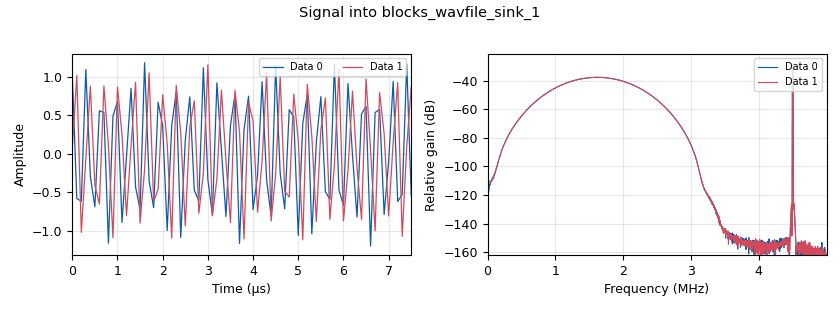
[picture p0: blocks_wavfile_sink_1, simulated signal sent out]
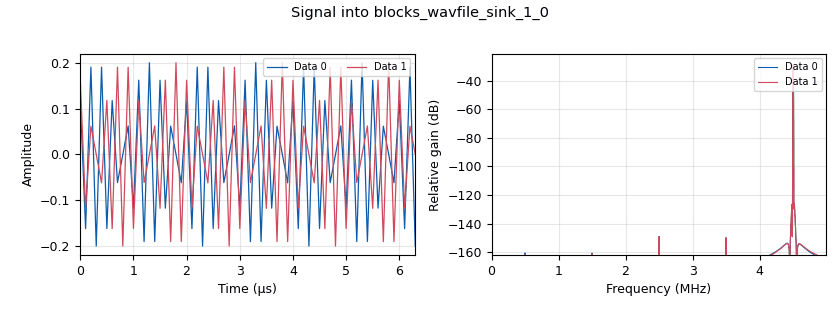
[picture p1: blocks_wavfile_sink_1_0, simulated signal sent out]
options:
  parameters:
    author: Levi Farinas
    generate_options: no_gui
    id: fmcw_hackrf
    output_language: python
    run_options: run
    title: Chirp with Pilot Tone
  states: {}

blocks:
- name: c
  id: variable
  parameters:
    value: 3e8
  states: {}
- name: chirp_bw
  id: variable
  parameters:
    value: .8 * (sdr_fs)
  states: {}
- name: pi
  id: variable
  parameters:
    value: '3.141592653'
  states: {}
- name: pilot_bb_freq
  id: variable
  parameters:
    value: (sdr_fs/2) * .9
  states: {}
- name: postchirp_buffer
  id: variable
  parameters:
    value: int(1e3)
  states: {}
- name: prechirp_buffer
  id: variable
  parameters:
    value: int(10e3)
  states: {}
- name: analog_frequency_modulator_fc_0
  id: analog_frequency_modulator_fc
  parameters:
    sensitivity: (2*3.14159*chirp_bw)/(sdr_fs)
  states: {}
- name: analog_sig_source_x_0
  id: analog_sig_source_x
  parameters:
    amp: '1'
    freq: 1/bb_chirp_period
    maxoutbuf: '100'
    offset: pi
    phase: pi
    samp_rate: sdr_fs
    type: float
    waveform: analog.GR_SAW_WAVE
  states: {}
- name: analog_sig_source_x_1
  id: analog_sig_source_x
  parameters:
    amp: pilot_amplitude
    freq: pilot_bb_freq
    offset: '0'
    phase: '0'
    samp_rate: sdr_fs
    type: complex
    waveform: analog.GR_COS_WAVE
  states: {}
- name: bb_chirp_period
  id: parameter
  parameters:
    type: eng_float
    value: '1e-3'
  states: {}
- name: blocks_add_xx_0
  id: blocks_add_xx
  parameters:
    type: complex
  states: {}
- name: blocks_complex_to_float_0
  id: blocks_complex_to_float
  parameters: {}
  states: {state: disabled}
- name: blocks_complex_to_float_0_0
  id: blocks_complex_to_float
  parameters: {}
  states: {state: disabled}
- name: blocks_complex_to_float_1
  id: blocks_complex_to_float
  parameters: {}
  states: {}
- name: blocks_complex_to_float_1_0
  id: blocks_complex_to_float
  parameters: {}
  states: {}
- name: blocks_complex_to_float_1_1
  id: blocks_complex_to_float
  parameters: {}
  states: {}
- name: blocks_head_0
  id: blocks_head
  parameters:
    num_items: int(bb_chirp_period*sdr_fs)
    type: float
  states: {}
- name: blocks_head_1
  id: blocks_head
  parameters:
    num_items: int(prechirp_buffer + sdr_fs * bb_chirp_period + postchirp_buffer)
    type: complex
  states: {state: disabled}
- name: blocks_throttle2_0
  id: blocks_throttle2
  parameters:
    samples_per_second: sdr_fs
    type: float
  states: {}
- name: blocks_wavfile_sink_0
  id: blocks_wavfile_sink
  parameters:
    bits_per_sample1: FORMAT_PCM_16
    file: /Users/levifarinas/Documents/SAR Research/Stitched/tx_chirp_{subchirp_idx}.wav
    format: FORMAT_WAV
    nchan: '2'
    samp_rate: sdr_fs
  states: {state: disabled}
- name: blocks_wavfile_sink_0_0
  id: blocks_wavfile_sink
  parameters:
    bits_per_sample1: FORMAT_PCM_16
    file: f"/Users/levifarinas/Documents/SAR Research/Stitched/rx_chirp_{subchirp_idx}.wav"
    format: FORMAT_WAV
    nchan: '2'
    samp_rate: sdr_fs
  states: {state: disabled}
- name: blocks_wavfile_sink_1
  id: blocks_wavfile_sink
  parameters:
    bits_per_sample1: FORMAT_PCM_16
    file: /Users/levifarinas/Documents/SAR Research/Data/tx.wav
    format: FORMAT_WAV
    nchan: '2'
    samp_rate: sdr_fs
  states: {}
- name: blocks_wavfile_sink_1_0
  id: blocks_wavfile_sink
  parameters:
    bits_per_sample1: FORMAT_PCM_16
    file: /Users/levifarinas/Documents/SAR Research/Data/pilot.wav
    format: FORMAT_WAV
    nchan: '2'
    samp_rate: sdr_fs
  states: {}
- name: blocks_wavfile_sink_1_1
  id: blocks_wavfile_sink
  parameters:
    bits_per_sample1: FORMAT_PCM_16
    file: /Users/levifarinas/Documents/SAR Research/Data/chirp.wav
    format: FORMAT_WAV
    nchan: '2'
    samp_rate: sdr_fs
  states: {}
- name: center_freq
  id: parameter
  parameters:
    type: eng_float
    value: 2.5e9
  states: {}
- name: pilot_amplitude
  id: parameter
  parameters:
    type: eng_float
    value: '.2'
  states: {}
- name: rx_gain
  id: parameter
  parameters:
    type: intx
    value: '60'
  states: {}
- name: sdr_fs
  id: parameter
  parameters:
    type: intx
    value: int(10e6)
  states: {}
- name: soapy_hackrf_sink_0
  id: soapy_hackrf_sink
  parameters:
    center_freq: center_freq
    samp_rate: sdr_fs
    type: fc32
  states: {state: disabled}
- name: soapy_hackrf_source_0
  id: soapy_hackrf_source
  parameters:
    center_freq: center_freq
    samp_rate: sdr_fs
    type: fc32
  states: {state: disabled}
- name: subchirp_idx
  id: parameter
  parameters:
    type: intx
    value: '0'
  states: {}
- name: tx_gain
  id: parameter
  parameters:
    type: intx
    value: '50'
  states: {}
- name: usrp_string
  id: parameter
  parameters:
    type: str
    value: '""'
  states: {}

connections:
- [analog_frequency_modulator_fc_0, '0', blocks_add_xx_0, '0']
- [analog_frequency_modulator_fc_0, '0', blocks_complex_to_float_1_1, '0']
- [analog_sig_source_x_0, '0', blocks_head_0, '0']
- [analog_sig_source_x_1, '0', blocks_add_xx_0, '1']
- [analog_sig_source_x_1, '0', blocks_complex_to_float_1_0, '0']
- [blocks_add_xx_0, '0', blocks_complex_to_float_0, '0']
- [blocks_add_xx_0, '0', blocks_complex_to_float_1, '0']
- [blocks_add_xx_0, '0', soapy_hackrf_sink_0, '0']
- [blocks_complex_to_float_0, '0', blocks_wavfile_sink_0, '0']
- [blocks_complex_to_float_0, '1', blocks_wavfile_sink_0, '1']
- [blocks_complex_to_float_0_0, '0', blocks_wavfile_sink_0_0, '0']
- [blocks_complex_to_float_0_0, '1', blocks_wavfile_sink_0_0, '1']
- [blocks_complex_to_float_1, '0', blocks_wavfile_sink_1, '0']
- [blocks_complex_to_float_1, '1', blocks_wavfile_sink_1, '1']
- [blocks_complex_to_float_1_0, '0', blocks_wavfile_sink_1_0, '0']
- [blocks_complex_to_float_1_0, '1', blocks_wavfile_sink_1_0, '1']
- [blocks_complex_to_float_1_1, '0', blocks_wavfile_sink_1_1, '0']
- [blocks_complex_to_float_1_1, '1', blocks_wavfile_sink_1_1, '1']
- [blocks_head_0, '0', blocks_throttle2_0, '0']
- [blocks_head_1, '0', blocks_complex_to_float_0_0, '0']
- [blocks_throttle2_0, '0', analog_frequency_modulator_fc_0, '0']
- [soapy_hackrf_source_0, '0', blocks_head_1, '0']

metadata:
  file_format: 1
  grc_version: 3.10.12.0
